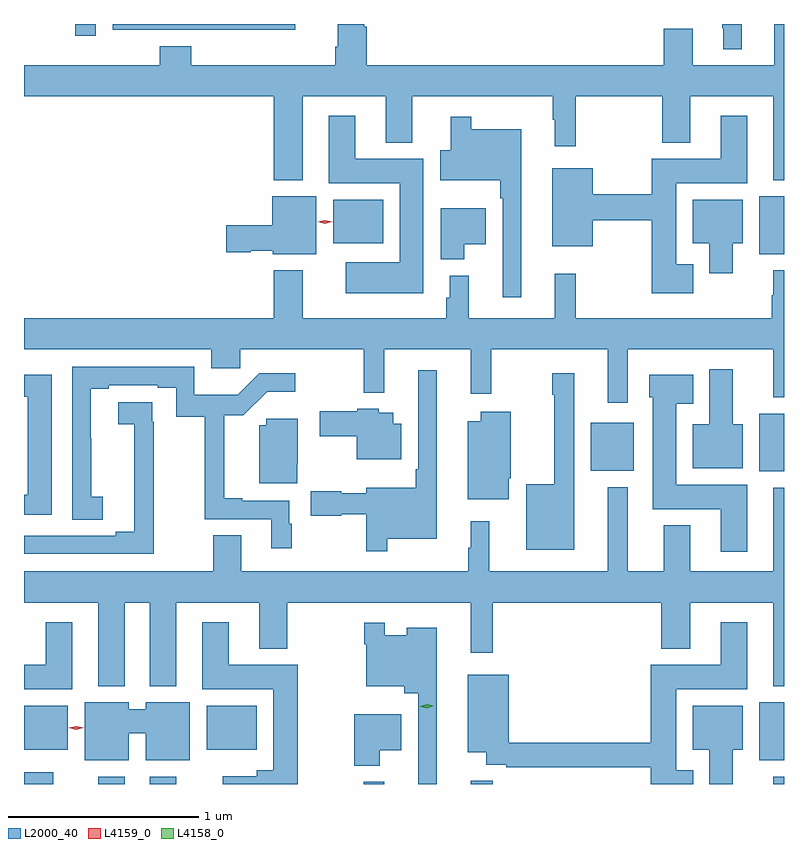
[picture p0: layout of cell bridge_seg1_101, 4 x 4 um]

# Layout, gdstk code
import gdstk
lib = gdstk.Library(unit=1e-6, precision=1e-09)
def R(c, l, rs):  # rectangles x0, y0, x1, y1
    for r in rs: c.add(gdstk.rectangle(r[:2], r[2:], *l))
def P(c, l, *ps):  # polygons
    for p in ps: c.add(gdstk.Polygon(p, *l))
L2000_40 = (2000, 40)
L4158_0 = (4158, 0)
L4159_0 = (4159, 0)

bridge_seg1_101 = lib.new_cell('bridge_seg1_101')
R(bridge_seg1_101, L2000_40, [(135.856,510.817,136.009,510.88), (136.247,510.817,136.387,510.856), (136.517,510.817,136.657,510.856), (137.643,510.817,137.753,510.829), (138.206,510.817,138.323,510.833), (139.799,510.817,139.856,510.856), (139.727,510.941,139.856,511.246), (135.856,510.998,136.087,511.228), (136.817,510.998,137.08,511.228), (139.727,512.462,139.856,512.767), (138.839,512.465,139.066,512.719), (139.727,513.605,139.856,513.91), (137.483,513.662,137.746,513.892), (136.125,514.755,136.233,514.817)])
P(bridge_seg1_101, L2000_40, [(137.283,514.817),(136.323,514.817),(136.323,514.788),(136.819,514.788),(136.819,514.787),(137.283,514.787)],
  [(139.633,514.817),(139.531,514.817),(139.531,514.795),(139.535,514.795),(139.535,514.685),(139.633,514.685)],
  [(137.323,514.436),(137.759,514.436),(137.759,514.193),(137.899,514.193),(137.899,514.436),(138.639,514.436),(138.639,514.313),(138.65,514.313),(138.65,514.173),(138.76,514.173),(138.76,514.436),(139.216,514.436),(139.216,514.193),(139.363,514.193),(139.363,514.436),(139.799,514.436),(139.799,513.995),(139.856,513.995),(139.856,514.817),(139.805,514.817),(139.805,514.6),(139.375,514.6),(139.375,514.792),(139.223,514.792),(139.223,514.6),(137.66,514.6),(137.66,514.802),(137.647,514.802),(137.647,514.817),(137.507,514.817),(137.507,514.696),(137.495,514.696),(137.495,514.6),(136.736,514.6),(136.736,514.699),(136.571,514.699),(136.571,514.6),(135.856,514.6),(135.856,514.436),(137.171,514.436),(137.171,513.995),(137.323,513.995)],
  [(137.956,514.108),(137.599,514.108),(137.599,514.333),(137.459,514.333),(137.459,513.98),(137.834,513.98),(137.834,513.562),(137.55,513.562),(137.55,513.401),(137.956,513.401)],
  [(139.378,513.553),(139.288,513.553),(139.288,513.98),(139.663,513.98),(139.663,514.333),(139.523,514.333),(139.523,514.108),(139.159,514.108),(139.159,513.92),(138.85,513.92),(138.85,514.057),(138.635,514.057),(138.635,513.647),(138.85,513.647),(138.85,513.784),(139.159,513.784),(139.159,513.401),(139.378,513.401)],
  [(138.472,514.264),(138.211,514.264),(138.211,514.33),(138.101,514.33),(138.101,514.153),(138.048,514.153),(138.048,513.995),(138.363,513.995),(138.363,513.899),(138.375,513.899),(138.375,513.378),(138.472,513.378)],
  [(137.395,513.91),(137.162,513.91),(137.162,513.758),(136.92,513.758),(136.92,513.616),(137.049,513.616),(137.049,513.623),(137.166,513.623),(137.166,513.605),(137.395,513.605)],
  [(139.585,513.662),(139.639,513.662),(139.639,513.892),(139.376,513.892),(139.376,513.662),(139.463,513.662),(139.463,513.504),(139.585,513.504)],
  [(138.172,513.659),(138.286,513.659),(138.286,513.847),(138.05,513.847),(138.05,513.578),(138.172,513.578)],
  [(139.033,513.104),(139.799,513.104),(139.799,512.852),(139.856,512.852),(139.856,513.52),(139.799,513.52),(139.799,513.389),(139.792,513.389),(139.792,513.268),(138.76,513.268),(138.76,513.502),(138.65,513.502),(138.65,513.268),(138.197,513.268),(138.197,513.493),(138.098,513.493),(138.098,513.375),(138.079,513.375),(138.079,513.268),(137.323,513.268),(137.323,513.52),(137.171,513.52),(137.171,513.268),(135.856,513.268),(135.856,513.104),(136.841,513.104),(136.841,513.006),(136.993,513.006),(136.993,513.104),(137.643,513.104),(137.643,512.876),(137.753,512.876),(137.753,513.104),(138.206,513.104),(138.206,512.871),(138.316,512.871),(138.316,513.104),(138.929,513.104),(138.929,512.823),(139.033,512.823)],
  [(137.266,512.187),(137.253,512.187),(137.253,512.307),(137.005,512.307),(137.005,512.32),(136.91,512.32),(136.91,512.757),(137.009,512.757),(137.135,512.882),(137.284,512.882),(137.284,512.979),(137.094,512.979),(136.981,512.866),(136.752,512.866),(136.752,513.012),(136.11,513.012),(136.11,512.209),(136.27,512.209),(136.27,512.329),(136.209,512.329),(136.209,512.633),(136.207,512.633),(136.207,512.896),(136.303,512.896),(136.303,512.916),(136.559,512.916),(136.559,512.902),(136.656,512.902),(136.656,512.749),(136.807,512.749),(136.807,512.211),(137.156,512.211),(137.156,512.058),(137.266,512.058)],
  [(139.639,512.71),(139.585,512.71),(139.585,513.001),(139.463,513.001),(139.463,512.71),(139.376,512.71),(139.376,512.48),(139.639,512.48)],
  [(137.767,512.108),(138.028,512.108),(138.028,512.995),(137.931,512.995),(137.931,512.473),(137.919,512.473),(137.919,512.377),(137.657,512.377),(137.657,512.347),(137.526,512.347),(137.526,512.359),(137.366,512.359),(137.366,512.23),(137.526,512.23),(137.526,512.238),(137.657,512.238),(137.657,512.043),(137.767,512.043)],
  [(138.751,512.98),(138.637,512.98),(138.637,512.867),(138.647,512.867),(138.647,512.395),(138.5,512.395),(138.5,512.051),(138.751,512.051)],
  [(139.663,512.392),(139.288,512.392),(139.288,512.819),(139.378,512.819),(139.378,512.971),(139.148,512.971),(139.148,512.853),(139.166,512.853),(139.166,512.264),(139.523,512.264),(139.523,512.04),(139.663,512.04)],
  [(136.003,512.971),(135.856,512.971),(135.856,512.856),(135.875,512.856),(135.875,512.34),(135.856,512.34),(135.856,512.235),(136.003,512.235)],
  [(136.538,512.723),(136.532,512.723),(136.532,512.825),(136.353,512.825),(136.353,512.71),(136.435,512.71),(136.435,512.427),(136.436,512.427),(136.436,512.144),(136.34,512.144),(136.34,512.124),(135.856,512.124),(135.856,512.028),(136.538,512.028)],
  [(137.842,512.713),(137.8,512.713),(137.8,512.77),(137.724,512.77),(137.724,512.791),(137.61,512.791),(137.61,512.778),(137.412,512.778),(137.412,512.648),(137.606,512.648),(137.606,512.525),(137.842,512.525)],
  [(138.406,512.427),(138.418,512.427),(138.418,512.776),(138.26,512.776),(138.26,512.725),(138.191,512.725),(138.191,512.315),(138.406,512.315)],
  [(137.295,512.503),(137.296,512.503),(137.296,512.74),(137.13,512.74),(137.13,512.704),(137.093,512.704),(137.093,512.399),(137.295,512.399)],
  [(136.387,511.772),(136.517,511.772),(136.517,511.331),(136.657,511.331),(136.657,511.772),(137.093,511.772),(137.093,511.529),(137.241,511.529),(137.241,511.772),(138.206,511.772),(138.206,511.509),(138.323,511.509),(138.323,511.772),(139.211,511.772),(139.211,511.529),(139.363,511.529),(139.363,511.772),(139.799,511.772),(139.799,511.331),(139.856,511.331),(139.856,512.377),(139.799,512.377),(139.799,511.936),(139.363,511.936),(139.363,512.179),(139.223,512.179),(139.223,511.936),(139.033,511.936),(139.033,512.38),(138.929,512.38),(138.929,511.936),(138.305,511.936),(138.305,512.2),(138.206,512.2),(138.206,512.06),(138.195,512.06),(138.195,511.936),(136.999,511.936),(136.999,512.126),(136.852,512.126),(136.852,511.936),(135.856,511.936),(135.856,511.772),(136.247,511.772),(136.247,511.331),(136.387,511.331)],
  [(137.298,511.444),(136.933,511.444),(136.933,511.669),(136.793,511.669),(136.793,511.316),(137.168,511.316),(137.168,510.889),(137.081,510.889),(137.081,510.859),(136.902,510.859),(136.902,510.817),(137.298,510.817)],
  [(136.111,511.669),(135.971,511.669),(135.971,511.444),(135.856,511.444),(135.856,511.316),(136.111,511.316)],
  [(139.378,510.889),(139.288,510.889),(139.288,511.316),(139.663,511.316),(139.663,511.669),(139.523,511.669),(139.523,511.444),(139.154,511.444),(139.154,511.034),(138.406,511.034),(138.406,511.393),(138.191,511.393),(138.191,510.983),(138.29,510.983),(138.29,510.918),(138.394,510.918),(138.394,510.906),(139.154,510.906),(139.154,510.817),(139.378,510.817)],
  [(138.028,511.639),(137.87,511.639),(137.87,511.6),(137.754,511.6),(137.754,511.666),(137.646,511.666),(137.646,511.553),(137.658,511.553),(137.658,511.331),(137.858,511.331),(137.858,511.295),(137.931,511.295),(137.931,510.817),(138.028,510.817)],
  [(136.408,511.083),(136.496,511.083),(136.496,510.941),(136.729,510.941),(136.729,511.246),(136.496,511.246),(136.496,511.211),(136.408,511.211),(136.408,511.246),(136.175,511.246),(136.175,510.941),(136.408,510.941)],
  [(139.585,510.998),(139.639,510.998),(139.639,511.228),(139.376,511.228),(139.376,510.998),(139.463,510.998),(139.463,510.817),(139.585,510.817)],
  [(137.728,510.995),(137.842,510.995),(137.842,511.183),(137.594,511.183),(137.594,510.914),(137.728,510.914)])
P(bridge_seg1_101, L4158_0, [(137.978,511.217),(137.942,511.224),(137.942,511.224),(137.942,511.225),(137.977,511.237),(138.012,511.23),(138.012,511.229),(138.012,511.229)])
P(bridge_seg1_101, L4159_0, [(137.44,513.765),(137.401,513.775),(137.401,513.775),(137.401,513.775),(137.44,513.785),(137.478,513.776),(137.478,513.775),(137.478,513.775)],
  [(136.131,511.102),(136.092,511.112),(136.091,511.112),(136.092,511.112),(136.131,511.122),(136.17,511.112),(136.17,511.112),(136.17,511.112)])

lib.write_gds('bridge_seg1_101.gds')
